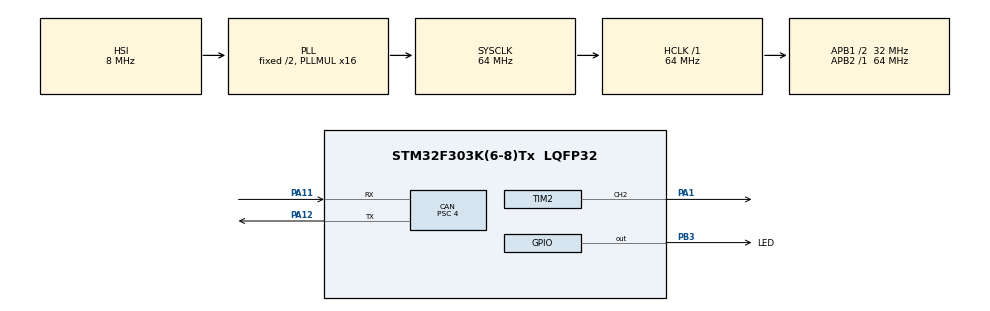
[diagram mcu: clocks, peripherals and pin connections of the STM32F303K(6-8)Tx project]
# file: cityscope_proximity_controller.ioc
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CAN.ABOM=ENABLE
CAN.AWUM=ENABLE
CAN.BS1=CAN_BS1_13TQ
CAN.BS2=CAN_BS2_2TQ
CAN.CalculateBaudRate=500000
CAN.CalculateTimeBit=2000
CAN.CalculateTimeQuantum=125.0
CAN.NART=ENABLE
CAN.Prescaler=4
CAN.RFLM=ENABLE
CAN.SJW=CAN_SJW_2TQ
CAN.TTCM=ENABLE
CAN.TXFP=ENABLE
Dma.Request0=TIM2_CH2/CH4
Dma.TIM2_CH2/CH4.0.Direction=DMA_MEMORY_TO_PERIPH
Dma.TIM2_CH2/CH4.0.Instance=DMA1_Channel7
Dma.TIM2_CH2/CH4.0.MemDataAlignment=DMA_MDATAALIGN_WORD
Dma.TIM2_CH2/CH4.0.MemInc=DMA_MINC_ENABLE
Dma.TIM2_CH2/CH4.0.Mode=DMA_NORMAL
Dma.TIM2_CH2/CH4.0.PeriphDataAlignment=DMA_PDATAALIGN_WORD
Dma.TIM2_CH2/CH4.0.PeriphInc=DMA_PINC_DISABLE
Dma.TIM2_CH2/CH4.0.Priority=DMA_PRIORITY_HIGH
FREERTOS.Tasks01=Translate_CCR,40,128,StartTranslate_CCR,Default,NULL,Dynamic,NULL,NULL;canopenTask,48,128,canopen_task,Default,NULL,Dynamic,NULL,NULL
Mcu.Family=STM32F3
Mcu.Name=STM32F303K(6-8)Tx
Mcu.Package=LQFP32
NVIC.CAN_RX0_IRQn=true\:5\:0\:false\:false\:true\:true\:true\:true\:true
NVIC.CAN_RX1_IRQn=true\:5\:0\:false\:false\:true\:true\:true\:true\:true
NVIC.CAN_TX_IRQn=true\:5\:0\:false\:false\:true\:true\:true\:true\:true
NVIC.DMA1_Channel7_IRQn=true\:5\:0\:false\:false\:true\:true\:false\:true\:true
NVIC.PriorityGroup=NVIC_PRIORITYGROUP_4
NVIC.TIM1_TRG_COM_TIM17_IRQn=true\:5\:0\:false\:false\:true\:true\:true\:true\:true
NVIC.TIM1_UP_TIM16_IRQn=true\:15\:0\:false\:false\:true\:false\:false\:true\:true
NVIC.TIM2_IRQn=true\:5\:0\:false\:false\:true\:true\:true\:true\:true
NVIC.TimeBase=TIM1_UP_TIM16_IRQn
NVIC.TimeBaseIP=TIM1
PA1.Signal=S_TIM2_CH2
PA11.GPIO_PuPd=GPIO_PULLUP
PA11.Mode=CAN_Activate
PA11.Signal=CAN_RX
PA12.Mode=CAN_Activate
PA12.Signal=CAN_TX
PA13.Mode=Serial_Wire
PA13.Signal=SYS_JTMS-SWDIO
PA14.Mode=Serial_Wire
PA14.Signal=SYS_JTCK-SWCLK
PB3.GPIO_Label=LED
PB3.Signal=GPIO_Output
ProjectManager.HeapSize=0x200
ProjectManager.StackSize=0x400
ProjectManager.TargetToolchain=Makefile
RCC.AHBFreq_Value=64000000
RCC.APB1CLKDivider=RCC_HCLK_DIV2
RCC.APB1Freq_Value=32000000
RCC.APB1TimFreq_Value=64000000
RCC.APB2Freq_Value=64000000
RCC.APB2TimFreq_Value=64000000
RCC.CortexFreq_Value=64000000
RCC.HCLKFreq_Value=64000000
RCC.HSE_VALUE=8000000
RCC.HSI_VALUE=8000000
RCC.PLLMUL=RCC_PLL_MUL16
RCC.SYSCLKFreq_VALUE=64000000
RCC.SYSCLKSourceVirtual=RCC_SYSCLKSOURCE_PLLCLK
SH.S_TIM2_CH2.0=TIM2_CH2,PWM Generation2 CH2
TIM17.Period=1000
TIM17.Prescaler=63
TIM2.AutoReloadPreload=TIM_AUTORELOAD_PRELOAD_ENABLE
TIM2.Channel-PWM\ Generation2\ CH2=TIM_CHANNEL_2
TIM2.Period=8000-1
TIM2.Prescaler=32-1
VP_FREERTOS_VS_CMSIS_V2.Mode=CMSIS_V2
VP_SYS_VS_tim1.Mode=TIM1
VP_TIM17_VS_ClockSourceINT.Mode=Enable_Timer
VP_TIM2_VS_ClockSourceINT.Mode=Internal
VP_TIM3_VS_ClockSourceINT.Mode=Internal
board=custom

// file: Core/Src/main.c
/* USER CODE BEGIN Header */
/**
 ******************************************************************************
 * @file           : main.c
 * @brief          : Main program body
 ******************************************************************************
 * @attention
 *
 * Copyright (c) 2023 STMicroelectronics.
 * All rights reserved.
 *
 * This software is licensed under terms that can be found in the LICENSE file
 * in the root directory of this software component.
 * If no LICENSE file comes with this software, it is provided AS-IS.
 *
 ******************************************************************************
 */
/* USER CODE END Header */
#include "main.h"
#include "cmsis_os.h"
#include "can.h"
#include "dma.h"
#include "tim.h"
#include "gpio.h"

/* USER CODE BEGIN Includes */
#include "CO_app_STM32.h"
/* USER CODE END Includes */

void SystemClock_Config(void);
void MX_FREERTOS_Init(void);
/* USER CODE BEGIN PFP */
uint32_t get_NodeID(void);
uint32_t NodeID[1];
/* USER CODE END PFP */

int main(void)
{

  /* MCU Configuration--------------------------------------------------------*/

  /* Reset of all peripherals, Initializes the Flash interface and the Systick. */
  HAL_Init();

  /* Configure the system clock */
  SystemClock_Config();

  /* Initialize all configured peripherals */
  MX_GPIO_Init();
  MX_DMA_Init();
  MX_CAN_Init();
  MX_TIM17_Init();
  MX_TIM3_Init();
  MX_TIM2_Init();

  /* Init scheduler */
  osKernelInitialize();  /* Call init function for freertos objects (in freertos.c) */
  MX_FREERTOS_Init();

  /* Start scheduler */
  osKernelStart();

  /* We should never get here as control is now taken by the scheduler */
  /* Infinite loop */
  while (1)
  {

  }
}

void SystemClock_Config(void)
{
  RCC_OscInitTypeDef RCC_OscInitStruct = {0};
  RCC_ClkInitTypeDef RCC_ClkInitStruct = {0};

  /** Initializes the RCC Oscillators according to the specified parameters
  * in the RCC_OscInitTypeDef structure.
  */
  RCC_OscInitStruct.OscillatorType = RCC_OSCILLATORTYPE_HSI;
  RCC_OscInitStruct.HSIState = RCC_HSI_ON;
  RCC_OscInitStruct.HSICalibrationValue = RCC_HSICALIBRATION_DEFAULT;
  RCC_OscInitStruct.PLL.PLLState = RCC_PLL_ON;
  RCC_OscInitStruct.PLL.PLLSource = RCC_PLLSOURCE_HSI;
  RCC_OscInitStruct.PLL.PLLMUL = RCC_PLL_MUL16;
  if (HAL_RCC_OscConfig(&RCC_OscInitStruct) != HAL_OK)
  {
    Error_Handler();
  }

  /** Initializes the CPU, AHB and APB buses clocks
  */
  RCC_ClkInitStruct.ClockType = RCC_CLOCKTYPE_HCLK|RCC_CLOCKTYPE_SYSCLK
                              |RCC_CLOCKTYPE_PCLK1|RCC_CLOCKTYPE_PCLK2;
  RCC_ClkInitStruct.SYSCLKSource = RCC_SYSCLKSOURCE_PLLCLK;
  RCC_ClkInitStruct.AHBCLKDivider = RCC_SYSCLK_DIV1;
  RCC_ClkInitStruct.APB1CLKDivider = RCC_HCLK_DIV2;
  RCC_ClkInitStruct.APB2CLKDivider = RCC_HCLK_DIV1;

  if (HAL_RCC_ClockConfig(&RCC_ClkInitStruct, FLASH_LATENCY_2) != HAL_OK)
  {
    Error_Handler();
  }
}

/* USER CODE BEGIN 4 */
uint32_t get_NodeID(void)
{
  return NodeID[0];
}
/* USER CODE END 4 */

void HAL_TIM_PeriodElapsedCallback(TIM_HandleTypeDef *htim)
{
  if (htim->Instance == TIM1) {
    HAL_IncTick();
  }
  /* USER CODE BEGIN Callback 1 */
  if (htim == canopenNodeSTM32->timerHandle)
  {
    canopen_app_interrupt();
  }
  /* USER CODE END Callback 1 */
}

void Error_Handler(void)
{
  __disable_irq();
  while (1)
  {
  }
}

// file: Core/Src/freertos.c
/* USER CODE BEGIN Header */
/**
 ******************************************************************************
 * File Name          : freertos.c
 * Description        : Code for freertos applications
 ******************************************************************************
 * @attention
 *
 * Copyright (c) 2023 STMicroelectronics.
 * All rights reserved.
 *
 * This software is licensed under terms that can be found in the LICENSE file
 * in the root directory of this software component.
 * If no LICENSE file comes with this software, it is provided AS-IS.
 *
 ******************************************************************************
 */
/* USER CODE END Header */

#include "FreeRTOS.h"
#include "task.h"
#include "main.h"
#include "cmsis_os.h"

/* USER CODE BEGIN Includes */
#include "CO_app_STM32.h"
#include "OD.h"
#include "tim.h"
#include "comment.h"
#include "can.h"
#define portTICK_RATE_MS portTICK_PERIOD_MS
#define portTICK_PERIOD_MS ((TickType_t)1000 / configTICK_RATE_HZ)
/* USER CODE END Includes */

/* Definitions for Translate_CCR */
osThreadId_t Translate_CCRHandle;
const osThreadAttr_t Translate_CCR_attributes = {
    .name = "Translate_CCR",
    .stack_size = 128 * 4,
    .priority = (osPriority_t)osPriorityHigh,
};
/* Definitions for canopenTask */
osThreadId_t canopenTaskHandle;
const osThreadAttr_t canopenTask_attributes = {
    .name = "canopenTask",
    .stack_size = 128 * 4,
    .priority = (osPriority_t)osPriorityRealtime,
};

void StartTranslate_CCR(void *argument);
void canopen_task(void *argument);

void MX_FREERTOS_Init(void); /* (MISRA C 2004 rule 8.1) */

void MX_FREERTOS_Init(void)
{

  /* Create the thread(s) */
  /* creation of Translate_CCR */
  Translate_CCRHandle = osThreadNew(StartTranslate_CCR, NULL, &Translate_CCR_attributes);
  /* creation of canopenTask */
  canopenTaskHandle = osThreadNew(canopen_task, NULL, &canopenTask_attributes);

}

void StartTranslate_CCR(void *argument)
{
  /* USER CODE BEGIN StartTranslate_CCR */
  /* Infinite loop */
  volatile int angle_data = OD_PERSIST_COMM.x6001_angle_data;
  for (;;)
  {
    if (OD_PERSIST_COMM.x6001_angle_data != angle_data)
    {
      angle_data = OD_PERSIST_COMM.x6001_angle_data;
      TIM2->CCR2 = 1200 + (angle_data * 20);
    }
  }
  /* USER CODE END StartTranslate_CCR */
}

void canopen_task(void *argument)
{
  /* USER CODE BEGIN canopen_task */
  CANopenNodeSTM32 canOpenNodeSTM32;
  canOpenNodeSTM32.CANHandle = &hcan;
  canOpenNodeSTM32.HWInitFunction = MX_CAN_Init;
  canOpenNodeSTM32.timerHandle = &htim17;
  canOpenNodeSTM32.desiredNodeID = 13;
  canOpenNodeSTM32.baudrate = 125;
  canopen_app_init(&canOpenNodeSTM32);
  TIM2->CCR2 = 1200; // CCR_value bigger the rpm will highter range 1200 ~ 4800, Duty cycle 15% ~ 60%
  HAL_TIM_PWM_Start(&htim2, TIM_CHANNEL_2);
  /* Infinite loop */
  for (;;)
  {
    canopen_app_process();
    vTaskDelay(1);
  }
  /* USER CODE END canopen_task */
}
